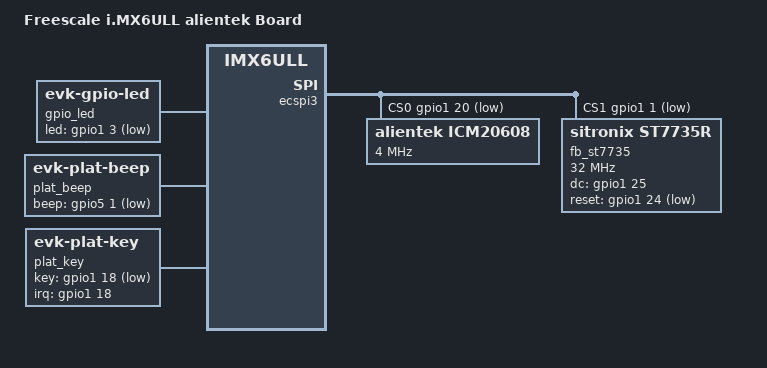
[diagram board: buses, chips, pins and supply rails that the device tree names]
// SPDX-License-Identifier: (GPL-2.0 OR MIT)
//
// Copyright (C) 2016 Freescale Semiconductor, Inc.

/dts-v1/;

#include "imx6ull.dtsi"
#include "imx6ul-14x14-evk.dtsi"

/ {
//model = "Freescale i.MX6 UltraLiteLite 14x14 EVK Board";
	model = "Freescale i.MX6ULL alientek Board";
	compatible = "fsl,imx6ull-14x14-evk", "fsl,imx6ull";

    gpio_led {
        #address-cells = <1>;
        #size-cells = <1>;
        compatible = "evk-gpio-led";
        pinctrl-names = "default";
        pinctrl-0 = <&pinctrl_led>;
        led-gpio = <&gpio1 3 GPIO_ACTIVE_LOW>;
        status = "okay";
      /*  reg = <
            /* #define CCM_CCGR1_BASE */
        /*    0X020C406C  4   */
            /* #define SW_MUX_GPIO1_IO03_BASE */
        /*    0X020E0068  4   */
            /* #define SW_PAD_GPIO1_IO03_BASE */
        /*    0X020E02F4  4   */
            /* #define GPIO1_DR_BASE */
        /*    0X0209C000  4   */
            /* #define GPIO1_GDIR_BASE*/
        /*    0X0209C004  4 >;*/
    };
    plat_beep {
        #address-cells = <1>;
        #size-cells = <1>;
        compatible = "evk-plat-beep";
        pinctrl-names = "default";
        pinctrl-0 = <&pinctrl_beep>;
        beep-gpio = <&gpio5 1 GPIO_ACTIVE_LOW>;
        status = "okay";
    };
    plat_key {
        #address-cells = <1>;
        #size-cells = <1>;
        compatible = "evk-plat-key";
        pinctrl-names = "default";
        pinctrl-0 = <&pinctrl_key>;
        key-gpio = <&gpio1 18 GPIO_ACTIVE_LOW>;
        interrupt-parent = <&gpio1>;
        interrupts = <18 IRQ_TYPE_EDGE_BOTH>;
        status = "okay";
    };
    plat_sound {
        compatible = "fsl,imx-audio-wm8960";
        model = "imx6ul-wm8960";
        audio-cpu = <&sai2>;
        audio-codec = <&codec>;
        audio-asrc = <&asrc>;
        //hp-det-gpio = <&gpio5 4 0>;
        audio-routing =
            "Headphone Jack", "HP_L",
            "Headphone Jack", "HP_R",
            "LINPUT2", "Mic Jack",
            "LINPUT1", "Mic Jack",
            "RINPUT1", "Mic Jack",
            "RINPUT2", "Mic Jack";
    };

};

/*jzhang35 modified*/
&ecspi3 {
    fsl,spi-num-chipselects = <2>;
    pinctrl-names = "default";
    pinctrl-0 = <&pinctrl_ecspi3 
                 &pinctrl_fbtft>;
    cs-gpios = <&gpio1 20 GPIO_ACTIVE_LOW>,
               <&gpio1 1  GPIO_ACTIVE_LOW>; /*cs-select*/

    status = "okay";

    icm20608@0 {
        compatible = "alientek,icm20608";
        spi-max-frequency = <4000000>;
        reg = <0>;
    };

    fb_st7735@1 {
        compatible = "sitronix,st7735r";
        spi-max-frequency = <32000000>;
        reg = <1>;
        buswidth = <8>;
        fps = <30>;
        rotate = <0>;
        //backlight-gpios = <&gpio1 3 GPIO_ACTIVE_LOW>;
        dc-gpios = <&gpio1 25 GPIO_ACTIVE_HIGH>;
        reset-gpios = <&gpio1 24 GPIO_ACTIVE_LOW>;
    };
};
